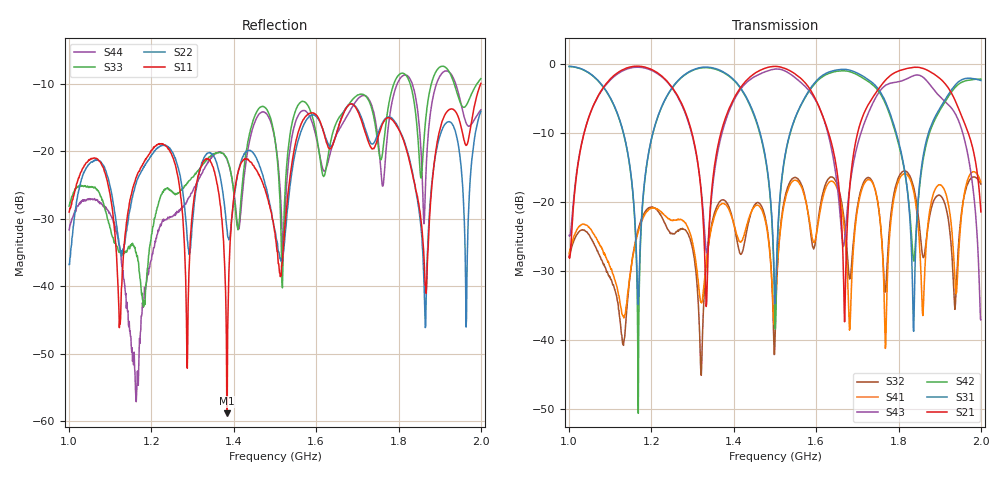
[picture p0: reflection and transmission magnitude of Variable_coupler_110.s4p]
#  HZ  S  DB  R  50.00
! Rohde & Schwarz Vector Network Analyzer
! Rohde-Schwarz,ZNB8-4Port,1311601044102961,2.82
! Created: UTC 1/17/2019, 3:16:59 PM
! freq[Hz]  db:S11  ang:S11  db:S12  ang:S12  db:S13  ang:S13  db:S14  ang:S14
!  db:S21  ang:S21  db:S22  ang:S22  db:S23  ang:S23  db:S24  ang:S24
!  db:S31  ang:S31  db:S32  ang:S32  db:S33  ang:S33  db:S34  ang:S34
!  db:S41  ang:S41  db:S42  ang:S42  db:S43  ang:S43  db:S44  ang:S44
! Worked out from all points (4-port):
!   1001 points, 1 GHz to 2 GHz, reference 50 ohm
!   strongest paths, dB at 1 GHz, 1.25 GHz, 1.5 GHz, 1.75 GHz, 2 GHz:
!     S21: -27.9, -3.4, -0.4, -3.8, -21.4
!     S31: -0.4, -3.5, -34.7, -3.5, -2.4
!     S42: -0.4, -3.5, -38.3, -3.8, -2.2
!     S43: -24.8, -3.5, -0.7, -4.3, -37.1
!     S41: -27.5, -22.7, -36.8, -20.2, -17.1
!     S32: -28.0, -24.6, -40.0, -20.2, -17.4
!   lowest |S11| = -58.8 dB at 1.383 GHz (marker M1), VSWR 1.00, Z = 49.9 + j0.0881 ohm
!   |S11| at or under -10 dB: start of sweep to 2 GHz
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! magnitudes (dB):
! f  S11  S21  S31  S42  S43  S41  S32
! 1 GHz  -29.0  -27.9  -0.4  -0.4  -24.8  -27.5  -28.0
! 1.168 GHz  -23.1  -0.3  -34.9  -50.6  -0.5  -24.3  -23.9
! 1.333 GHz  -21.2  -35.1  -0.5  -0.5  -27.2  -28.8  -29.1
! 1.383 GHz  -58.8  -7.3  -1.5  -1.5  -7.7  -20.6  -20.1
! 1.5 GHz  -32.1  -0.4  -34.7  -38.3  -0.7  -36.8  -40.0
! 1.927 GHz  -13.7  -4.0  -3.9  -4.2  -6.3  -22.7  -25.7
! 2 GHz  -10.0  -21.4  -2.4  -2.2  -37.1  -17.1  -17.4
